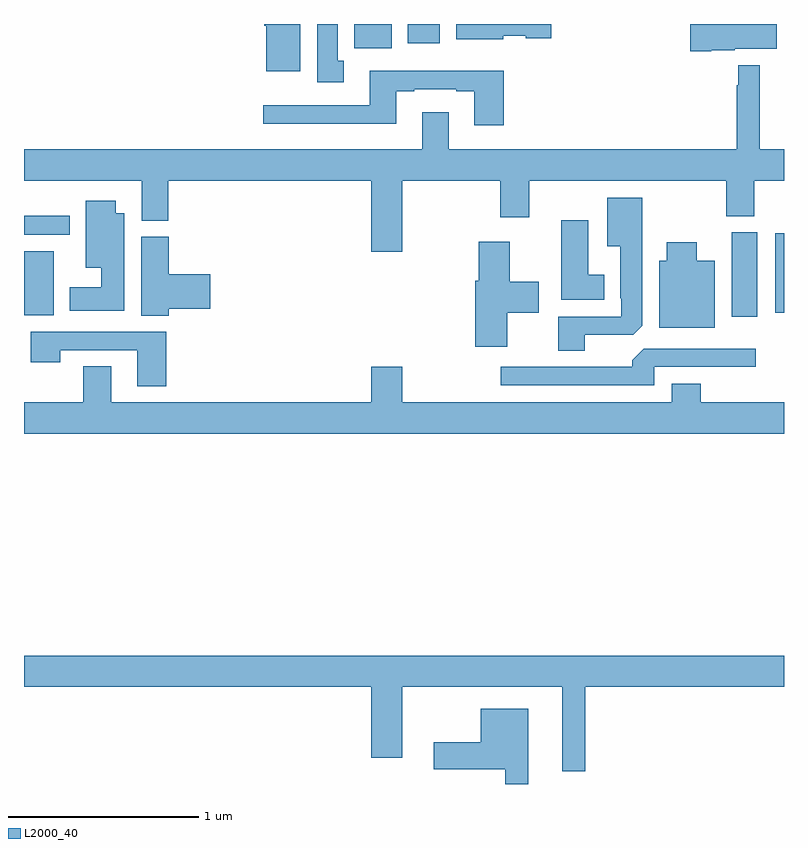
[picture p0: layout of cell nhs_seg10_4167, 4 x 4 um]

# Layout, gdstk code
import gdstk
lib = gdstk.Library(unit=1e-6, precision=1e-09)
def R(c, l, rs):  # rectangles x0, y0, x1, y1
    for r in rs: c.add(gdstk.rectangle(r[:2], r[2:], *l))
def P(c, l, *ps):  # polygons
    for p in ps: c.add(gdstk.Polygon(p, *l))
L2000_40 = (2000, 40)

nhs_seg10_4167 = lib.new_cell('nhs_seg10_4167')
R(nhs_seg10_4167, L2000_40, [(346.724,1272.96,346.858,1273.404), (343,1272.968,343.156,1273.303), (346.955,1272.98,347,1273.399), (343,1273.392,343.24,1273.49), (344.738,1274.372,344.935,1274.5), (345.02,1274.4,345.187,1274.5)])
P(nhs_seg10_4167, L2000_40, [(345.522,1274.438),(345.642,1274.438),(345.642,1274.426),(345.775,1274.426),(345.775,1274.5),(345.275,1274.5),(345.275,1274.42),(345.522,1274.42)],
  [(344.455,1274.5),(344.264,1274.5),(344.264,1274.492),(344.276,1274.492),(344.276,1274.252),(344.455,1274.252)],
  [(344.683,1274.306),(344.65,1274.306),(344.65,1274.5),(344.543,1274.5),(344.543,1274.193),(344.683,1274.193)],
  [(346.618,1274.363),(346.74,1274.363),(346.74,1274.369),(346.963,1274.369),(346.963,1274.5),(346.506,1274.5),(346.506,1274.357),(346.618,1274.357)],
  [(344.992,1273.676),(345.506,1273.676),(345.506,1273.482),(345.658,1273.482),(345.658,1273.676),(346.696,1273.676),(346.696,1273.489),(346.843,1273.489),(346.843,1273.676),(347,1273.676),(347,1273.84),(346.873,1273.84),(346.873,1274.284),(346.759,1274.284),(346.759,1274.177),(346.752,1274.177),(346.752,1273.84),(345.235,1273.84),(345.235,1274.035),(345.095,1274.035),(345.095,1273.84),(343,1273.84),(343,1273.676),(343.619,1273.676),(343.619,1273.465),(343.76,1273.465),(343.76,1273.676),(344.828,1273.676),(344.828,1273.302),(344.992,1273.302)],
  [(345.524,1274.254),(344.819,1274.254),(344.819,1274.073),(344.259,1274.073),(344.259,1273.976),(344.959,1273.976),(344.959,1274.145),(345.055,1274.145),(345.055,1274.157),(345.275,1274.157),(345.275,1274.145),(345.371,1274.145),(345.371,1273.968),(345.524,1273.968)],
  [(345.952,1272.864),(346.206,1272.864),(346.255,1272.913),(346.255,1273.585),(346.07,1273.585),(346.07,1273.331),(346.139,1273.331),(346.139,1273.057),(346.143,1273.057),(346.143,1272.96),(345.812,1272.96),(345.812,1272.781),(345.952,1272.781)],
  [(343.528,1273.504),(343.483,1273.504),(343.483,1273.57),(343.325,1273.57),(343.325,1273.217),(343.406,1273.217),(343.406,1273.114),(343.241,1273.114),(343.241,1272.992),(343.528,1272.992)],
  [(346.054,1273.18),(345.97,1273.18),(345.97,1273.468),(345.827,1273.468),(345.827,1273.049),(346.054,1273.049)],
  [(343.763,1273.001),(343.981,1273.001),(343.981,1273.184),(343.763,1273.184),(343.763,1273.38),(343.616,1273.38),(343.616,1272.964),(343.763,1272.964)],
  [(345.544,1272.98),(345.709,1272.98),(345.709,1273.143),(345.556,1273.143),(345.556,1273.354),(345.394,1273.354),(345.394,1273.149),(345.374,1273.149),(345.374,1272.801),(345.544,1272.801)],
  [(346.636,1273.255),(346.54,1273.255),(346.54,1273.351),(346.382,1273.351),(346.382,1273.255),(346.343,1273.255),(346.343,1272.902),(346.636,1272.902)],
  [(343.748,1272.879),(343.035,1272.879),(343.035,1272.72),(343.191,1272.72),(343.191,1272.783),(343.595,1272.783),(343.595,1272.594),(343.748,1272.594)],
  [(346.317,1272.696),(346.852,1272.696),(346.852,1272.792),(346.263,1272.792),(346.202,1272.73),(346.202,1272.696),(345.51,1272.696),(345.51,1272.6),(346.317,1272.6)],
  [(347,1272.508),(346.562,1272.508),(346.562,1272.607),(346.409,1272.607),(346.409,1272.508),(344.992,1272.508),(344.992,1272.697),(344.828,1272.697),(344.828,1272.508),(343.459,1272.508),(343.459,1272.698),(343.312,1272.698),(343.312,1272.508),(343,1272.508),(343,1272.344),(347,1272.344)],
  [(345.955,1271.012),(347,1271.012),(347,1271.176),(343,1271.176),(343,1271.012),(344.828,1271.012),(344.828,1270.638),(344.992,1270.638),(344.992,1271.012),(345.833,1271.012),(345.833,1270.568),(345.955,1270.568)],
  [(345.655,1270.897),(345.404,1270.897),(345.404,1270.719),(345.156,1270.719),(345.156,1270.577),(345.534,1270.577),(345.534,1270.5),(345.655,1270.5)])

lib.write_gds('nhs_seg10_4167.gds')
